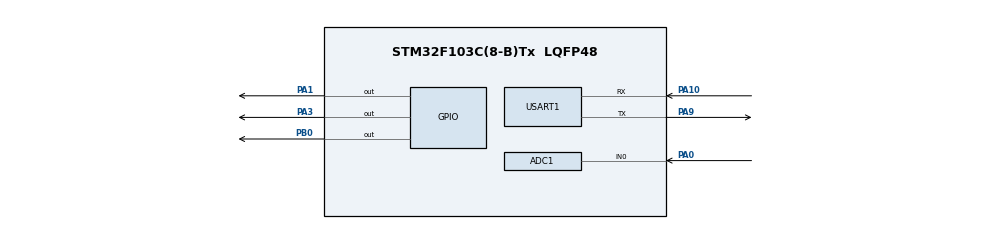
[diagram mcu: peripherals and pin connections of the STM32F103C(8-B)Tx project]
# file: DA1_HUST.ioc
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ADC1.Channel-0\#ChannelRegularConversion=ADC_CHANNEL_0
ADC1.NbrOfConversionFlag=1
ADC1.Rank-0\#ChannelRegularConversion=1
ADC1.SamplingTime-0\#ChannelRegularConversion=ADC_SAMPLETIME_1CYCLE_5
ADC1.master=1
Mcu.Family=STM32F1
Mcu.Name=STM32F103C(8-B)Tx
Mcu.Package=LQFP48
NVIC.PriorityGroup=NVIC_PRIORITYGROUP_4
PA0-WKUP.Signal=ADCx_IN0
PA1.Signal=GPIO_Output
PA10.Mode=Asynchronous
PA10.Signal=USART1_RX
PA13.Mode=Serial_Wire
PA13.Signal=SYS_JTMS-SWDIO
PA14.Mode=Serial_Wire
PA14.Signal=SYS_JTCK-SWCLK
PA3.Signal=GPIO_Output
PA9.Mode=Asynchronous
PA9.Signal=USART1_TX
PB0.Signal=GPIO_Output
ProjectManager.HeapSize=0x200
ProjectManager.StackSize=0x400
ProjectManager.TargetToolchain=MDK-ARM V5.27
RCC.APB1Freq_Value=8000000
RCC.APB2Freq_Value=8000000
SH.ADCx_IN0.0=ADC1_IN0,IN0
TIM1.Prescaler=7
USART1.VirtualMode=VM_ASYNC
VP_TIM1_VS_ClockSourceINT.Mode=Internal
board=custom

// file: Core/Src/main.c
/* USER CODE BEGIN Header */
/**
  ******************************************************************************
  * @file           : main.c
  * @brief          : Main program body
  ******************************************************************************
  * @attention
  *
  * <h2><center>&copy; Copyright (c) 2023 STMicroelectronics.
  * All rights reserved.</center></h2>
  *
  * This software component is licensed by ST under BSD 3-Clause license,
  * the "License"; You may not use this file except in compliance with the
  * License. You may obtain a copy of the License at:
  *                        opensource.org/licenses/BSD-3-Clause
  *
  ******************************************************************************
  */
/* USER CODE END Header */
#include "main.h"

/* USER CODE BEGIN Includes */
#include "stdio.h"
#include "string.h"
/* USER CODE END Includes */

ADC_HandleTypeDef hadc1;

TIM_HandleTypeDef htim1;

UART_HandleTypeDef huart1;

void SystemClock_Config(void);
static void MX_GPIO_Init(void);
static void MX_ADC1_Init(void);
static void MX_USART1_UART_Init(void);
static void MX_TIM1_Init(void);

/* USER CODE BEGIN 0 */
uint32_t gtbt;
#define DHT22_PORT GPIOA
#define DHT22_PIN GPIO_PIN_1

uint8_t hum1, hum2, tempC1, tempC2, SUM, CHECK;
uint32_t pMillis, cMillis;
uint16_t temp_Celsius = 0;
uint16_t temp_Fahrenheit = 0;
uint16_t Humidity = 0;
uint8_t hum_integral, hum_decimal, tempC_integral, tempC_decimal, tempF_integral, tempF_decimal;
char string[15];
void microDelay (uint16_t delay)
{
  __HAL_TIM_SET_COUNTER(&htim1, 0);
  while (__HAL_TIM_GET_COUNTER(&htim1) < delay);
}

uint8_t DHT22_Start (void)
{
  uint8_t Response = 0;
  GPIO_InitTypeDef GPIO_InitStructPrivate = {0};
  GPIO_InitStructPrivate.Pin = DHT22_PIN;
  GPIO_InitStructPrivate.Mode = GPIO_MODE_OUTPUT_PP;
  GPIO_InitStructPrivate.Speed = GPIO_SPEED_FREQ_LOW;
  GPIO_InitStructPrivate.Pull = GPIO_NOPULL;
  HAL_GPIO_Init(DHT22_PORT, &GPIO_InitStructPrivate);
  HAL_GPIO_WritePin (DHT22_PORT, DHT22_PIN, 0);
  microDelay (1200);
  HAL_GPIO_WritePin (DHT22_PORT, DHT22_PIN, 1);
  microDelay (20);
  GPIO_InitStructPrivate.Mode = GPIO_MODE_INPUT;
  GPIO_InitStructPrivate.Pull = GPIO_PULLUP;
  HAL_GPIO_Init(DHT22_PORT, &GPIO_InitStructPrivate);
  microDelay (40);
  if (!(HAL_GPIO_ReadPin (DHT22_PORT, DHT22_PIN)))
  {
    microDelay (80);
    if ((HAL_GPIO_ReadPin (DHT22_PORT, DHT22_PIN))) Response = 1;
  }
  pMillis = HAL_GetTick();
  cMillis = HAL_GetTick();
  while ((HAL_GPIO_ReadPin (DHT22_PORT, DHT22_PIN)) && pMillis + 2 > cMillis)
  {
    cMillis = HAL_GetTick();
  }
  return Response;
}

uint8_t DHT22_Read (void)
{
  uint8_t x,y;
  for (x=0;x<8;x++)
  {
    pMillis = HAL_GetTick();
    cMillis = HAL_GetTick();
    while (!(HAL_GPIO_ReadPin (DHT22_PORT, DHT22_PIN)) && pMillis + 2 > cMillis)
    {
      cMillis = HAL_GetTick();
    }
    microDelay (40);
    if (!(HAL_GPIO_ReadPin (DHT22_PORT, DHT22_PIN)))   // if the pin is low
      y&= ~(1<<(7-x));
    else
      y|= (1<<(7-x));
    pMillis = HAL_GetTick();
    cMillis = HAL_GetTick();
    while ((HAL_GPIO_ReadPin (DHT22_PORT, DHT22_PIN)) && pMillis + 2 > cMillis)
    {  // wait for the pin to go low
      cMillis = HAL_GetTick();
    }
  }
  return y;
}
uint32_t ADCRead(ADC_HandleTypeDef *adc)
{
	uint32_t value;
	HAL_ADC_Start(&hadc1);
		value = HAL_ADC_GetValue(&hadc1);;
 HAL_ADC_Stop(&hadc1);
 HAL_Delay(20);
	return value;
}
/* USER CODE END 0 */

int main(void)
{

  /* MCU Configuration--------------------------------------------------------*/

  /* Reset of all peripherals, Initializes the Flash interface and the Systick. */
  HAL_Init();

  /* Configure the system clock */
  SystemClock_Config();

  /* Initialize all configured peripherals */
  MX_GPIO_Init();
  MX_ADC1_Init();
  MX_USART1_UART_Init();
  MX_TIM1_Init();

  /* Infinite loop */
  while (1)
  {

    /* USER CODE BEGIN 3 */
		HAL_GPIO_WritePin(GPIOA, GPIO_PIN_3,1);
	 if(DHT22_Start())
	     {
	       hum1 = DHT22_Read();
	       hum2 = DHT22_Read();
	       tempC1 = DHT22_Read();
	       tempC2 = DHT22_Read();
	       SUM = DHT22_Read();
	       CHECK = hum1 + hum2 + tempC1 + tempC2;
	       if (CHECK == SUM)
	       {
	         if (tempC1>127)
	         {
	           temp_Celsius = (float)tempC2/10*(-1);
	         }
	         else
	         {
	           temp_Celsius = (float)((tempC1<<8)|tempC2)/10;
	         }

				 }
			 }
			 char str2[50];
   		char str1[50];
			 gtbt = ADCRead(&hadc1);
			int len2=sprintf(str2,"%04d", temp_Celsius);
		  int len1=sprintf(str1,"%04d",gtbt);
		 	HAL_UART_Transmit(&huart1,(uint8_t *)str1,len1,300);
	  	HAL_UART_Transmit(&huart1,(uint8_t *)str2,len2,300);
			 if (gtbt<=3001)
			 {
				 HAL_GPIO_WritePin(GPIOB, GPIO_PIN_0,1);
			 }
			 else if (gtbt >3001)

			 {
				 HAL_GPIO_WritePin(GPIOB, GPIO_PIN_0,0);
			 }
		  HAL_Delay(1000);
  }
  /* USER CODE END 3 */
}

void SystemClock_Config(void)
{
  RCC_OscInitTypeDef RCC_OscInitStruct = {0};
  RCC_ClkInitTypeDef RCC_ClkInitStruct = {0};
  RCC_PeriphCLKInitTypeDef PeriphClkInit = {0};

  /** Initializes the RCC Oscillators according to the specified parameters
  * in the RCC_OscInitTypeDef structure.
  */
  RCC_OscInitStruct.OscillatorType = RCC_OSCILLATORTYPE_HSI;
  RCC_OscInitStruct.HSIState = RCC_HSI_ON;
  RCC_OscInitStruct.HSICalibrationValue = RCC_HSICALIBRATION_DEFAULT;
  RCC_OscInitStruct.PLL.PLLState = RCC_PLL_NONE;
  if (HAL_RCC_OscConfig(&RCC_OscInitStruct) != HAL_OK)
  {
    Error_Handler();
  }
  /** Initializes the CPU, AHB and APB buses clocks
  */
  RCC_ClkInitStruct.ClockType = RCC_CLOCKTYPE_HCLK|RCC_CLOCKTYPE_SYSCLK
                              |RCC_CLOCKTYPE_PCLK1|RCC_CLOCKTYPE_PCLK2;
  RCC_ClkInitStruct.SYSCLKSource = RCC_SYSCLKSOURCE_HSI;
  RCC_ClkInitStruct.AHBCLKDivider = RCC_SYSCLK_DIV1;
  RCC_ClkInitStruct.APB1CLKDivider = RCC_HCLK_DIV1;
  RCC_ClkInitStruct.APB2CLKDivider = RCC_HCLK_DIV1;

  if (HAL_RCC_ClockConfig(&RCC_ClkInitStruct, FLASH_LATENCY_0) != HAL_OK)
  {
    Error_Handler();
  }
  PeriphClkInit.PeriphClockSelection = RCC_PERIPHCLK_ADC;
  PeriphClkInit.AdcClockSelection = RCC_ADCPCLK2_DIV2;
  if (HAL_RCCEx_PeriphCLKConfig(&PeriphClkInit) != HAL_OK)
  {
    Error_Handler();
  }
}

static void MX_ADC1_Init(void)
{

  ADC_ChannelConfTypeDef sConfig = {0};

  /** Common config
  */
  hadc1.Instance = ADC1;
  hadc1.Init.ScanConvMode = ADC_SCAN_DISABLE;
  hadc1.Init.ContinuousConvMode = DISABLE;
  hadc1.Init.DiscontinuousConvMode = DISABLE;
  hadc1.Init.ExternalTrigConv = ADC_SOFTWARE_START;
  hadc1.Init.DataAlign = ADC_DATAALIGN_RIGHT;
  hadc1.Init.NbrOfConversion = 1;
  if (HAL_ADC_Init(&hadc1) != HAL_OK)
  {
    Error_Handler();
  }
  /** Configure Regular Channel
  */
  sConfig.Channel = ADC_CHANNEL_0;
  sConfig.Rank = ADC_REGULAR_RANK_1;
  sConfig.SamplingTime = ADC_SAMPLETIME_1CYCLE_5;
  if (HAL_ADC_ConfigChannel(&hadc1, &sConfig) != HAL_OK)
  {
    Error_Handler();
  }

}

static void MX_TIM1_Init(void)
{

  TIM_ClockConfigTypeDef sClockSourceConfig = {0};
  TIM_MasterConfigTypeDef sMasterConfig = {0};

  htim1.Instance = TIM1;
  htim1.Init.Prescaler = 7;
  htim1.Init.CounterMode = TIM_COUNTERMODE_UP;
  htim1.Init.Period = 65535;
  htim1.Init.ClockDivision = TIM_CLOCKDIVISION_DIV1;
  htim1.Init.RepetitionCounter = 0;
  htim1.Init.AutoReloadPreload = TIM_AUTORELOAD_PRELOAD_DISABLE;
  if (HAL_TIM_Base_Init(&htim1) != HAL_OK)
  {
    Error_Handler();
  }
  sClockSourceConfig.ClockSource = TIM_CLOCKSOURCE_INTERNAL;
  if (HAL_TIM_ConfigClockSource(&htim1, &sClockSourceConfig) != HAL_OK)
  {
    Error_Handler();
  }
  sMasterConfig.MasterOutputTrigger = TIM_TRGO_RESET;
  sMasterConfig.MasterSlaveMode = TIM_MASTERSLAVEMODE_DISABLE;
  if (HAL_TIMEx_MasterConfigSynchronization(&htim1, &sMasterConfig) != HAL_OK)
  {
    Error_Handler();
  }

}

static void MX_USART1_UART_Init(void)
{

  huart1.Instance = USART1;
  huart1.Init.BaudRate = 115200;
  huart1.Init.WordLength = UART_WORDLENGTH_8B;
  huart1.Init.StopBits = UART_STOPBITS_1;
  huart1.Init.Parity = UART_PARITY_NONE;
  huart1.Init.Mode = UART_MODE_TX_RX;
  huart1.Init.HwFlowCtl = UART_HWCONTROL_NONE;
  huart1.Init.OverSampling = UART_OVERSAMPLING_16;
  if (HAL_UART_Init(&huart1) != HAL_OK)
  {
    Error_Handler();
  }

}

static void MX_GPIO_Init(void)
{
  GPIO_InitTypeDef GPIO_InitStruct = {0};

  /* GPIO Ports Clock Enable */
  __HAL_RCC_GPIOA_CLK_ENABLE();
  __HAL_RCC_GPIOB_CLK_ENABLE();

  /*Configure GPIO pin Output Level */
  HAL_GPIO_WritePin(GPIOA, GPIO_PIN_1|GPIO_PIN_3, GPIO_PIN_RESET);

  /*Configure GPIO pin Output Level */
  HAL_GPIO_WritePin(GPIOB, GPIO_PIN_0, GPIO_PIN_RESET);

  /*Configure GPIO pins : PA1 PA3 */
  GPIO_InitStruct.Pin = GPIO_PIN_1|GPIO_PIN_3;
  GPIO_InitStruct.Mode = GPIO_MODE_OUTPUT_PP;
  GPIO_InitStruct.Pull = GPIO_NOPULL;
  GPIO_InitStruct.Speed = GPIO_SPEED_FREQ_LOW;
  HAL_GPIO_Init(GPIOA, &GPIO_InitStruct);

  /*Configure GPIO pin : PB0 */
  GPIO_InitStruct.Pin = GPIO_PIN_0;
  GPIO_InitStruct.Mode = GPIO_MODE_OUTPUT_PP;
  GPIO_InitStruct.Pull = GPIO_NOPULL;
  GPIO_InitStruct.Speed = GPIO_SPEED_FREQ_LOW;
  HAL_GPIO_Init(GPIOB, &GPIO_InitStruct);

}

void Error_Handler(void)
{
}

/************************ (C) COPYRIGHT STMicroelectronics *****END OF FILE****/
